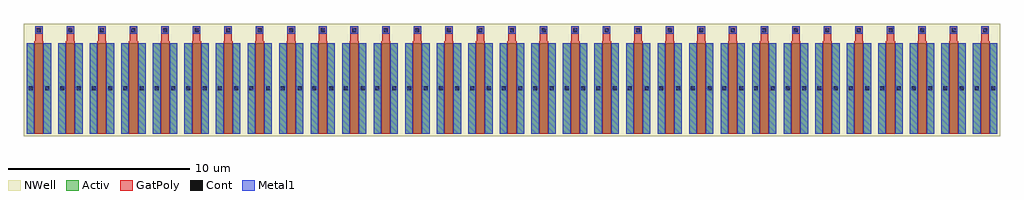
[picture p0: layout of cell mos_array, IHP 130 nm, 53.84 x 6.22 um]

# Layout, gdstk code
import gdstk
lib = gdstk.Library(unit=1e-6, precision=1e-09)
def R(c, l, rs):  # rectangles x0, y0, x1, y1
    for r in rs: c.add(gdstk.rectangle(r[:2], r[2:], *l))
def A(c, l, x, y, w, h, nx, ny, dx, dy):  # array of equal rectangles
    R(c, l, [(x+i*dx, y+j*dy, x+i*dx+w, y+j*dy+h) for i in range(nx) for j in range(ny)])
Activ = (1, 0)
GatPoly = (5, 0)
Cont = (6, 0)
Metal1 = (8, 0)
NWell = (31, 0)

mos_array = lib.new_cell('mos_array')
A(mos_array, Activ, 0, 0, 1.34, 5, 31, 1, 1.74, 0)
A(mos_array, GatPoly, 0.42, 0, 0.5, 5, 31, 1, 1.74, 0)
A(mos_array, GatPoly, 0.42, 5, 0.5, 0.1, 31, 1, 1.74, 0)
A(mos_array, GatPoly, 0.46, 5.1, 0.42, 0.82, 31, 1, 1.74, 0)
A(mos_array, Cont, 0.56, 5.6, 0.22, 0.22, 31, 1, 1.74, 0)
R(mos_array, Cont, [(0.1,2.39,0.32,2.61), (1.02,2.39,1.24,2.61), (1.84,2.39,2.06,2.61), (2.76,2.39,2.98,2.61), (3.58,2.39,3.8,2.61), (4.5,2.39,4.72,2.61), (5.32,2.39,5.54,2.61), (6.24,2.39,6.46,2.61), (7.06,2.39,7.28,2.61), (7.98,2.39,8.2,2.61), (8.8,2.39,9.02,2.61), (9.72,2.39,9.94,2.61), (10.54,2.39,10.76,2.61), (11.46,2.39,11.68,2.61), (12.28,2.39,12.5,2.61), (13.2,2.39,13.42,2.61), (14.02,2.39,14.24,2.61), (14.94,2.39,15.16,2.61), (15.76,2.39,15.98,2.61), (16.68,2.39,16.9,2.61), (17.5,2.39,17.72,2.61), (18.42,2.39,18.64,2.61), (19.24,2.39,19.46,2.61), (20.16,2.39,20.38,2.61), (20.98,2.39,21.2,2.61), (21.9,2.39,22.12,2.61), (22.72,2.39,22.94,2.61), (23.64,2.39,23.86,2.61), (24.46,2.39,24.68,2.61), (25.38,2.39,25.6,2.61), (26.2,2.39,26.42,2.61), (27.12,2.39,27.34,2.61), (27.94,2.39,28.16,2.61), (28.86,2.39,29.08,2.61), (29.68,2.39,29.9,2.61), (30.6,2.39,30.82,2.61), (31.42,2.39,31.64,2.61), (32.34,2.39,32.56,2.61), (33.16,2.39,33.38,2.61), (34.08,2.39,34.3,2.61), (34.9,2.39,35.12,2.61), (35.82,2.39,36.04,2.61), (36.64,2.39,36.86,2.61), (37.56,2.39,37.78,2.61), (38.38,2.39,38.6,2.61), (39.3,2.39,39.52,2.61), (40.12,2.39,40.34,2.61), (41.04,2.39,41.26,2.61), (41.86,2.39,42.08,2.61), (42.78,2.39,43,2.61), (43.6,2.39,43.82,2.61), (44.52,2.39,44.74,2.61), (45.34,2.39,45.56,2.61), (46.26,2.39,46.48,2.61), (47.08,2.39,47.3,2.61), (48,2.39,48.22,2.61), (48.82,2.39,49.04,2.61), (49.74,2.39,49.96,2.61), (50.56,2.39,50.78,2.61), (51.48,2.39,51.7,2.61), (52.3,2.39,52.52,2.61), (53.22,2.39,53.44,2.61)])
A(mos_array, Metal1, 0.46, 5.5, 0.42, 0.42, 31, 1, 1.74, 0)
R(mos_array, Metal1, [(0,0,0.42,5), (0.92,0,1.34,5), (1.74,0,2.16,5), (2.66,0,3.08,5), (3.48,0,3.9,5), (4.4,0,4.82,5), (5.22,0,5.64,5), (6.14,0,6.56,5), (6.96,0,7.38,5), (7.88,0,8.3,5), (8.7,0,9.12,5), (9.62,0,10.04,5), (10.44,0,10.86,5), (11.36,0,11.78,5), (12.18,0,12.6,5), (13.1,0,13.52,5), (13.92,0,14.34,5), (14.84,0,15.26,5), (15.66,0,16.08,5), (16.58,0,17,5), (17.4,0,17.82,5), (18.32,0,18.74,5), (19.14,0,19.56,5), (20.06,0,20.48,5), (20.88,0,21.3,5), (21.8,0,22.22,5), (22.62,0,23.04,5), (23.54,0,23.96,5), (24.36,0,24.78,5), (25.28,0,25.7,5), (26.1,0,26.52,5), (27.02,0,27.44,5), (27.84,0,28.26,5), (28.76,0,29.18,5), (29.58,0,30,5), (30.5,0,30.92,5), (31.32,0,31.74,5), (32.24,0,32.66,5), (33.06,0,33.48,5), (33.98,0,34.4,5), (34.8,0,35.22,5), (35.72,0,36.14,5), (36.54,0,36.96,5), (37.46,0,37.88,5), (38.28,0,38.7,5), (39.2,0,39.62,5), (40.02,0,40.44,5), (40.94,0,41.36,5), (41.76,0,42.18,5), (42.68,0,43.1,5), (43.5,0,43.92,5), (44.42,0,44.84,5), (45.24,0,45.66,5), (46.16,0,46.58,5), (46.98,0,47.4,5), (47.9,0,48.32,5), (48.72,0,49.14,5), (49.64,0,50.06,5), (50.46,0,50.88,5), (51.38,0,51.8,5), (52.2,0,52.62,5), (53.12,0,53.54,5)])
R(mos_array, NWell, [(-0.15,-0.15,53.69,6.07)])

lib.write_gds('mos_array.gds')
